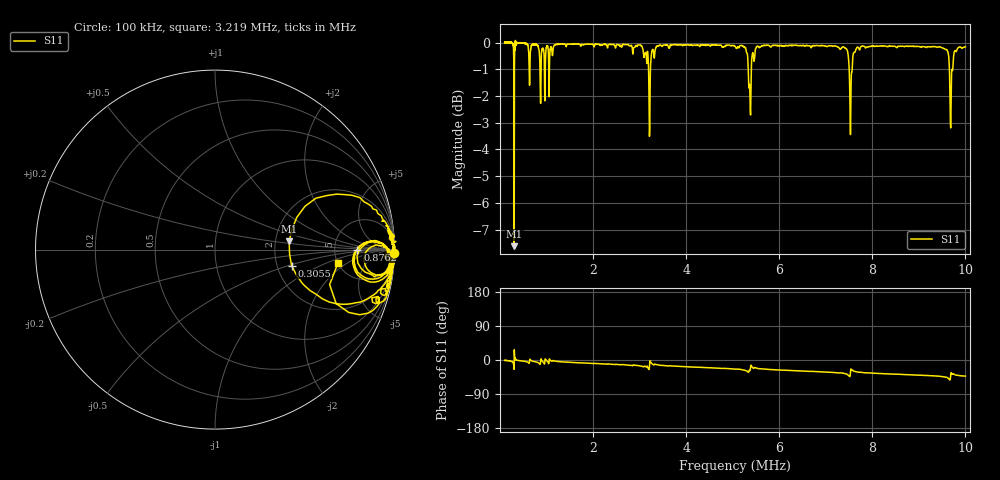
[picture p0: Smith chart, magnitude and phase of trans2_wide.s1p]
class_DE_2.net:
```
# Class DE amplifier with measured transducer load

.options sparse=1 maxdelta=20. softiter=80 maxiter=200 verbose=0 gyr=1e-3

.analysis ssw T=938ns nsamples=128 shell=0 deriv=Fourier multilevel=true wavelet=db2 shell=0
#.analysis fdtd T=938ns nsamples=256
#.analysis tran tstep=1ns tstop=10us

# Supply
vdc:vdd 1 gnd vdc=20V rint=2
vdc:vss 2 gnd vdc=-20V rint=2

# Switch
vpulse:vp 1 3 v1=0 v2=5V rint=50 td=0 tr=2ns tf=2ns pw=223ns per=938ns
acms_i:mp out1 3 1 1 w=50e-6 l=1e-6 type=p isq=40nA vth=-1V

vpulse:vn 4 2 v1=0 v2=5V rint=50 td=469ns tr=2ns tf=2ns pw=223ns per=938ns
acms_i:mn out1 4 2 2 w=50e-6 l=1e-6 type=n isq=40nA vth=1V

# Load
vdc:amp out1 out vdc=0
cap:c0 out gnd c=26pF
1port:transducer2 out gnd s1p=trans2_wide.s1p cap=115pF

# Added for numerical stability
res:r1 out gnd r=10k

.plot ssw 3 4 out
.plot sswcoeff out
.plot sswcoeff vdc:amp:i 
#.plot ssw vdc:vdd:i vdc:vss:i
.plot ssw vdc:amp:i 
.plot fdtd out
.plot tran 3 4 out
.plot tran vdc:amp:i 

.end
```
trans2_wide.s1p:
!Data & Calibration Information:
!Freq	S11:SOLT2(ON)
!PortZ  Port1:50+j0
!Above PortZ is port z conversion or system Z0 setting when saving the data.
!When reading, reference impedance value at option line is always used.
# Hz S RI R 50
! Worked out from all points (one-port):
!   3040 points, 100 kHz to 10 MHz, reference 50 ohm
!   lowest |S11| = -7.6 dB at 306.3 kHz (marker M1), VSWR 2.42, Z = 119 + j13.6 ohm
!   |S11| at or under -10 dB: nowhere
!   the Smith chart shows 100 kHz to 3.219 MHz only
!   S11 on the Smith chart (normalised r, x): 100 kHz: open; 305.5 kHz: 2.41, -0.53; 876.2 kHz: 8.70, +0.01; 3.219 MHz: 5.05, -1.40
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100000  1 -0.0165
283131  0.9815 -0.1202
298592  0.8725 -0.2584
305464  0.4265 -0.0887
306323  0.4132 0.0471
313195  0.9114 0.1982
340860  0.996 0.0186
615479  0.9573 -0.1282
876206  0.7939 0.000269
1275625  0.9912 -0.0754
3218500  0.6862 -0.0725
3404125  0.9584 -0.2256
6702063  0.8556 -0.4881
1e7  0.7231 -0.6645
